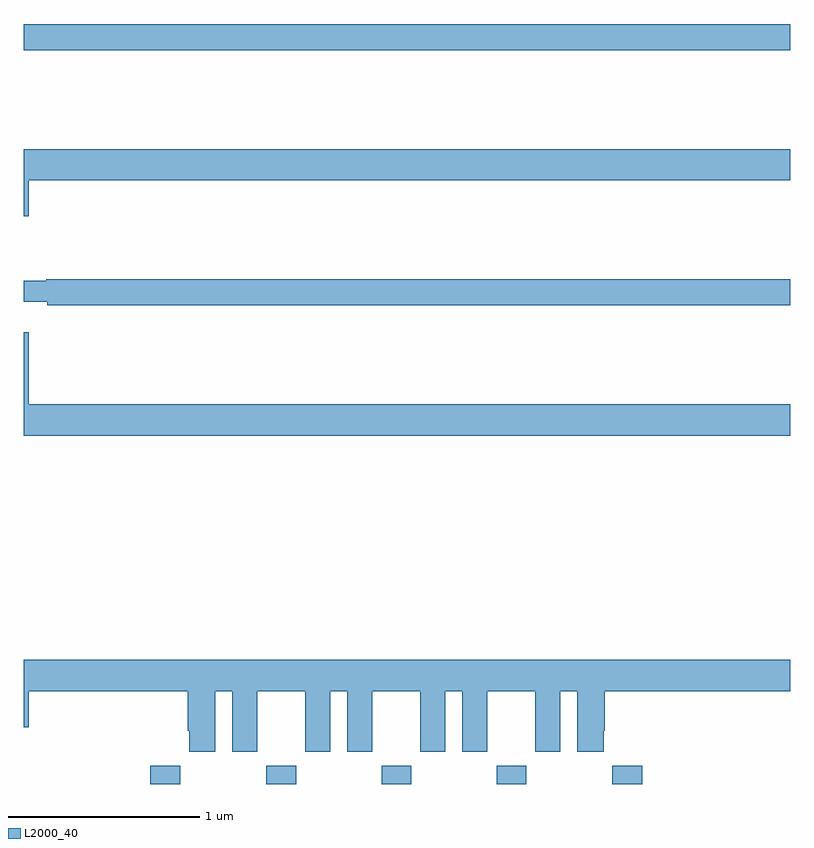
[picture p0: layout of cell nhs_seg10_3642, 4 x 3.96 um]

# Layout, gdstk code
import gdstk
lib = gdstk.Library(unit=1e-6, precision=1e-09)
def R(c, l, rs):  # rectangles x0, y0, x1, y1
    for r in rs: c.add(gdstk.rectangle(r[:2], r[2:], *l))
def A(c, l, x, y, w, h, nx, ny, dx, dy):  # array of equal rectangles
    R(c, l, [(x+i*dx, y+j*dy, x+i*dx+w, y+j*dy+h) for i in range(nx) for j in range(ny)])
def P(c, l, *ps):  # polygons
    for p in ps: c.add(gdstk.Polygon(p, *l))
L2000_40 = (2000, 40)

nhs_seg10_3642 = lib.new_cell('nhs_seg10_3642')
A(nhs_seg10_3642, L2000_40, 310.267, 1298.5, 0.155, 0.096, 3, 1, 0.6, 0)
R(nhs_seg10_3642, L2000_40, [(309.662,1298.5,309.817,1298.596), (312.071,1298.5,312.227,1298.596), (309,1302.328,313,1302.464)])
P(nhs_seg10_3642, L2000_40, [(309.028,1301.648),(313,1301.648),(313,1301.812),(309,1301.812),(309,1301.46),(309.028,1301.46)],
  [(313,1301.132),(309.118,1301.132),(309.118,1301.125),(309,1301.125),(309,1301.015),(309.124,1301.015),(309.124,1300.996),(313,1300.996)],
  [(313,1300.48),(309.028,1300.48),(309.028,1300.855),(309,1300.855),(309,1300.316),(313,1300.316)],
  [(309,1298.796),(309.028,1298.796),(309.028,1298.984),(309.857,1298.984),(309.857,1298.779),(309.863,1298.779),(309.863,1298.667),(310,1298.667),(310,1298.984),(310.088,1298.984),(310.088,1298.667),(310.219,1298.667),(310.219,1298.984),(310.469,1298.984),(310.469,1298.667),(310.6,1298.667),(310.6,1298.984),(310.688,1298.984),(310.688,1298.667),(310.819,1298.667),(310.819,1298.984),(311.069,1298.984),(311.069,1298.667),(311.2,1298.667),(311.2,1298.984),(311.288,1298.984),(311.288,1298.667),(311.419,1298.667),(311.419,1298.984),(311.669,1298.984),(311.669,1298.667),(311.8,1298.667),(311.8,1298.984),(311.888,1298.984),(311.888,1298.667),(312.025,1298.667),(312.025,1298.779),(312.032,1298.779),(312.032,1298.984),(313,1298.984),(313,1299.148),(309,1299.148)])

lib.write_gds('nhs_seg10_3642.gds')
